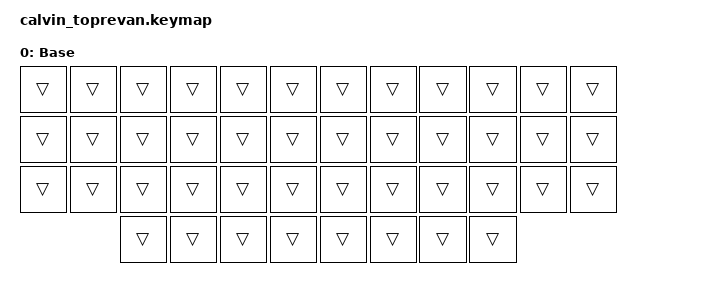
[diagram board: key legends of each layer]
/*
 * Copyright (c) 2024 The ZMK Contributors
 *
 * SPDX-License-Identifier: MIT
 */

#include <behaviors.dtsi>
#include <dt-bindings/zmk/keys.h>

#define NAV_L 1
#define NUM_L 2
#define MED_L 3
#define FUN_L 4

/ {
    keymap {
        compatible = "zmk,keymap";

        base_layer {
            display-name = "Base";
            bindings = <
&trans     &trans   &trans &trans  &trans   &trans  &trans     &trans    &trans       &trans       &trans     &trans
&trans     &trans      &trans    &trans     &trans      &trans     &trans     &trans    &trans       &trans       &trans     &trans
&trans     &trans      &trans    &trans     &trans      &trans     &trans     &trans    &trans       &trans       &trans     &trans
&trans  &trans        &trans                 &trans       &trans          &trans  &trans &trans
            >;
        };
    };
};
